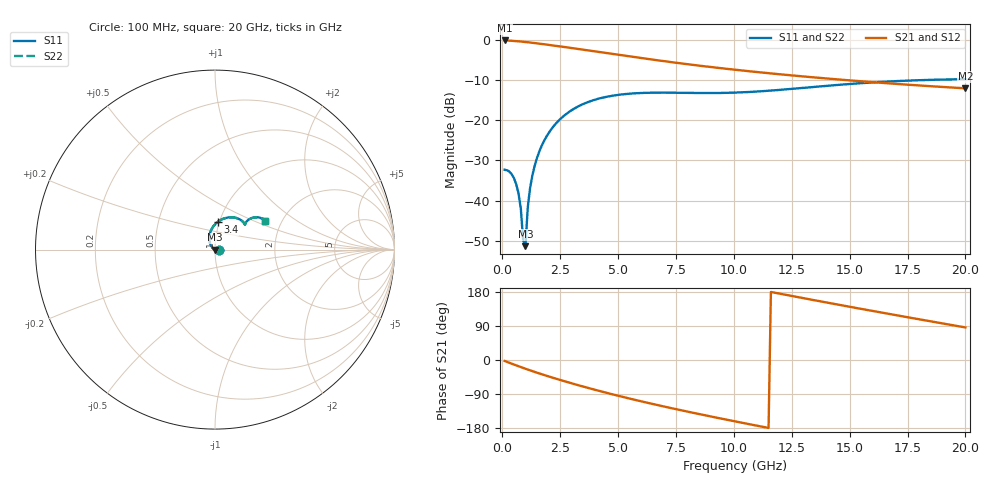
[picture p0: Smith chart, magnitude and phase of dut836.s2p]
! Touchstone file exported from HFSS 2024.1.0
!  File:  C:/UserFiles/LocalFiles/RDL_TSV_Batchsim/temp_RDL_TSV_836_1779919110.aedt
!  Generated:  06:14:44 AM May 28, 2026
!  Design:  RDL_TSV
!  Project:  temp_RDL_TSV_836_1779919110
!  Setup:  Setup1
!  Solution:  Sweep
! Variables:
!  dtsv = 14.74um
!  hbump = 3um
!  htsv = 72.61um
!  ldown = 397.15um
!  lrdl = 699.16um
!  p = 40
!  p1 = 48.09um
!  rhole = 10um
!  subl = 3988.09um
!  t = 450um
!  tdown = 4.31um
!  trdl = 2.09um
!  viad = 10um
!  wdown = 15.58um
!  wrdl = 26.07um
!  xbump = 18um
# GHz S MA R 50.000000
! Terminal data exported
! Port[1] = TM1_1_T1
! Port[2] = TM1_4_T1
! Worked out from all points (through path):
!   200 points, 100 MHz to 20 GHz, reference 50 ohm
!   highest |S21| = -0.22 dB at 100 MHz (marker M1); lowest = -12.1 dB at 20 GHz (marker M2)
!   group delay of S21, straight-line fit = 36.1 ps
!   lowest |S11| = -51.3 dB at 1 GHz (marker M3), VSWR 1.01, Z = 49.7 + j0.0113 ohm
!   |S11| at or under -10 dB: start of sweep to 18.45 GHz
!   |S22| runs from -51.2 to -9.8 dB; largest |S21 - S12| = 1e-14
!   S11 on the Smith chart (normalised r, x): 100 MHz: 1.05, -0.00; 3.4 GHz: 0.98, +0.31; 20 GHz: 1.65, +0.59
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0.1  0.02426 -1.7  0.9749 -2.4  0.9749 -2.4  0.02426 -1.7
! Gamma 0 0 0 0
! Port Impedance 50 0 50 0
0.4  0.02153 -11.0  0.966 -9.6  0.966 -9.6  0.02152 -11.0
0.6  0.01611 -20.1  0.9567 -14.2  0.9567 -14.2  0.0161 -20.1
0.7  0.01235 -25.6  0.9514 -16.5  0.9514 -16.5  0.01234 -25.5
0.8  0.008008 -32.9  0.9457 -18.7  0.9457 -18.7  0.00799 -32.8
0.9  0.003258 -51.1  0.9396 -20.9  0.9396 -20.9  0.003234 -51.0
1  0.002736 177.6  0.9331 -23.1  0.9331 -23.1  0.00275 177.1
1.1  0.008284 154.4  0.9264 -25.2  0.9264 -25.2  0.008309 154.2
1.2  0.01435 146.9  0.9194 -27.3  0.9194 -27.3  0.01438 146.8
1.4  0.02733 137.5  0.905 -31.5  0.905 -31.5  0.02737 137.5
1.6  0.04102 130.2  0.8901 -35.5  0.8901 -35.5  0.04106 130.1
1.9  0.0621 120.5  0.8673 -41.4  0.8673 -41.4  0.06215 120.5
2.3  0.08982 109.3  0.8369 -49.0  0.8369 -49.0  0.08987 109.2
3.4  0.1542 84.7  0.756 -68.6  0.756 -68.6  0.1543 84.7
3.5  0.1589 82.9  0.7489 -70.2  0.7489 -70.2  0.159 82.8
5.1  0.2077 59.4  0.6426 -95.8  0.6426 -95.8  0.2077 59.4
6.8  0.2196 45.5  0.5485 -120.3  0.5485 -120.3  0.2196 45.4
8.3  0.2175 40.5  0.4826 -140.1  0.4826 -140.1  0.2174 40.4
10.1  0.2201 40.3  0.4209 -162.5  0.4209 -162.5  0.2199 40.2
13.4  0.2576 41.5  0.3406 158.6  0.3406 158.6  0.2573 41.4
16.7  0.302 36.4  0.2861 121.6  0.2861 121.6  0.3015 36.4
20  0.3226 29.8  0.2485 85.9  0.2485 85.9  0.322 29.8
